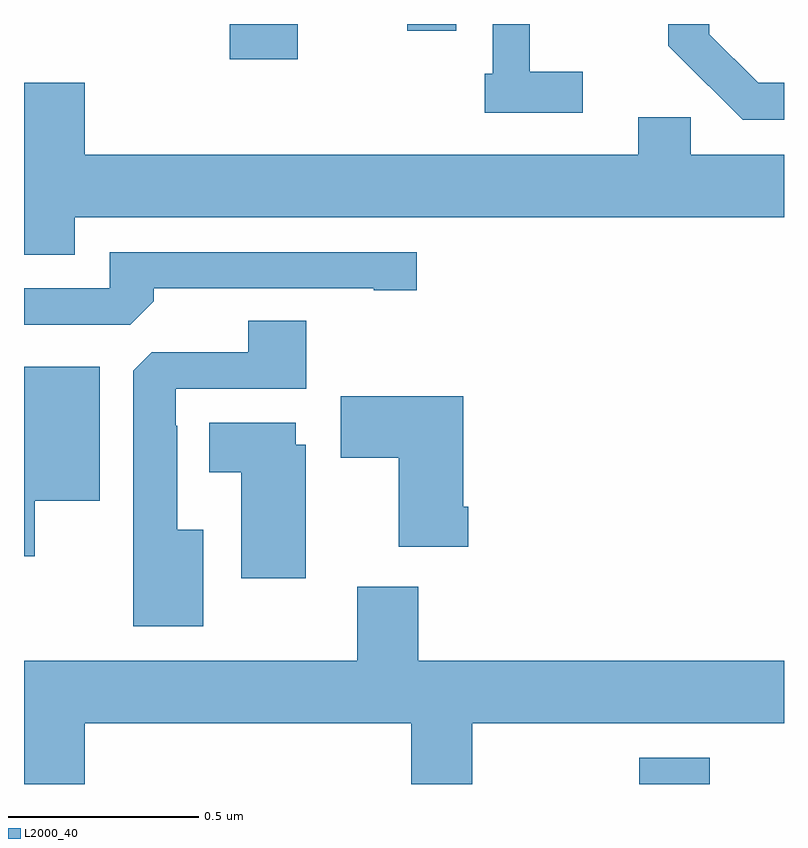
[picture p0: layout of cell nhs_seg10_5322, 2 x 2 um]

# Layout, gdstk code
import gdstk
lib = gdstk.Library(unit=1e-6, precision=1e-09)
def R(c, l, rs):  # rectangles x0, y0, x1, y1
    for r in rs: c.add(gdstk.rectangle(r[:2], r[2:], *l))
def P(c, l, *ps):  # polygons
    for p in ps: c.add(gdstk.Polygon(p, *l))
L2000_40 = (2000, 40)

nhs_seg10_5322 = lib.new_cell('nhs_seg10_5322')
R(nhs_seg10_5322, L2000_40, [(178.619,1289.5,178.804,1289.569), (177.542,1291.407,177.72,1291.5), (178.009,1291.482,178.138,1291.5)])
P(nhs_seg10_5322, L2000_40, [(178.471,1291.375),(178.331,1291.375),(178.331,1291.5),(178.233,1291.5),(178.233,1291.369),(178.213,1291.369),(178.213,1291.266),(178.471,1291.266)],
  [(179,1291.345),(178.932,1291.345),(178.803,1291.473),(178.803,1291.5),(178.695,1291.5),(178.695,1291.443),(178.8,1291.338),(178.801,1291.339),(178.892,1291.248),(179,1291.248)],
  [(177.133,1290.992),(179,1290.992),(179,1291.156),(178.755,1291.156),(178.755,1291.254),(178.616,1291.254),(178.616,1291.156),(177.16,1291.156),(177.16,1291.345),(177,1291.345),(177,1290.893),(177.133,1290.893)],
  [(177.341,1290.77),(177.341,1290.804),(177.92,1290.804),(177.92,1290.799),(178.033,1290.799),(178.033,1290.9),(177.225,1290.9),(177.225,1290.804),(177,1290.804),(177,1290.708),(177.279,1290.708)],
  [(177.472,1290.169),(177.403,1290.169),(177.403,1290.443),(177.399,1290.443),(177.399,1290.54),(177.743,1290.54),(177.743,1290.719),(177.59,1290.719),(177.59,1290.636),(177.336,1290.636),(177.287,1290.587),(177.287,1289.915),(177.472,1289.915)],
  [(177.028,1290.245),(177.199,1290.245),(177.199,1290.598),(177,1290.598),(177,1290.099),(177.028,1290.099)],
  [(178.169,1290.229),(178.156,1290.229),(178.156,1290.52),(177.834,1290.52),(177.834,1290.358),(177.986,1290.358),(177.986,1290.125),(178.169,1290.125)],
  [(177.742,1290.393),(177.715,1290.393),(177.715,1290.451),(177.488,1290.451),(177.488,1290.32),(177.572,1290.32),(177.572,1290.041),(177.742,1290.041)],
  [(177.16,1289.66),(178.019,1289.66),(178.019,1289.5),(178.179,1289.5),(178.179,1289.66),(179,1289.66),(179,1289.824),(178.037,1289.824),(178.037,1290.019),(177.877,1290.019),(177.877,1289.824),(177,1289.824),(177,1289.5),(177.16,1289.5)])

lib.write_gds('nhs_seg10_5322.gds')
